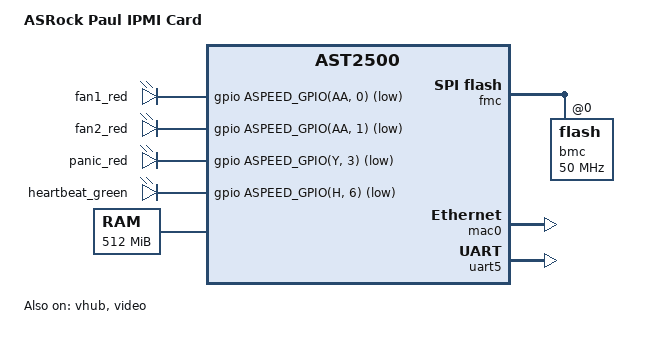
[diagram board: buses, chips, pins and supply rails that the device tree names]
// SPDX-License-Identifier: GPL-2.0-or-later
// Copyright 2025 Anirudh Srinivasan

/dts-v1/;

#include "aspeed-g5.dtsi"
#include <dt-bindings/gpio/aspeed-gpio.h>

/{
	model = "ASRock Paul IPMI Card";
	compatible = "asrock,ast2500-paul-ipmi-card", "aspeed,ast2500";

	aliases {
		serial4 = &uart5;
	};

	chosen {
		stdout-path = &uart5;
	};

	leds {
		compatible = "gpio-leds";

		led-fan-1 {
			gpios = <&gpio ASPEED_GPIO(AA, 0) GPIO_ACTIVE_LOW>;
			label = "fan1_red";
			default-state = "off";
		};

		led-fan-2 {
			gpios = <&gpio ASPEED_GPIO(AA, 1) GPIO_ACTIVE_LOW>;
			label = "fan2_red";
			default-state = "off";
		};

		led-fault {
			gpios = <&gpio ASPEED_GPIO(Y, 3) GPIO_ACTIVE_LOW>;
			label = "panic_red";
			panic-indicator;
			default-state = "off";
		};

		led-heartbeat {
			gpios = <&gpio ASPEED_GPIO(H, 6) GPIO_ACTIVE_LOW>;
			label = "heartbeat_green";
			linux,default-trigger = "timer";
		};
	};

	memory@80000000 {
		reg = <0x80000000 0x20000000>;
	};

	reserved-memory {
		#address-cells = <1>;
		#size-cells = <1>;
		ranges;

		video_engine_memory: video {
			size = <0x02000000>;
			alignment = <0x01000000>;
			compatible = "shared-dma-pool";
			reusable;
		};
	};
};

&fmc {
	status = "okay";
	flash@0 {
		status = "okay";
		m25p,fast-read;
		label = "bmc";
		spi-max-frequency = <50000000>; /* 50 MHz */
#include "openbmc-flash-layout.dtsi"
	};
};

&gpio {
	status = "okay";
	gpio-line-names =
		/*  A */ "", "", "", "", "", "", "", "",
		/*  B */ "", "", "", "", "", "", "", "",
		/*  C */ "", "", "", "", "", "", "", "",
		/*  D */ "", "BMC_PWRBTN", "", "BMC_RESETCON", "", "", "", "",
		/*  E */ "", "", "", "", "", "", "", "",
		/*  F */ "", "", "", "", "", "", "", "",
		/*  G */ "", "", "", "", "", "", "", "",
		/*  H */ "", "", "", "", "", "", "BMC_LED1", "",
		/*  I */ "", "", "", "", "", "", "", "",
		/*  J */ "", "", "", "", "", "", "", "",
		/*  K */ "", "", "", "", "", "", "", "",
		/*  L */ "", "", "", "", "", "", "", "",
		/*  M */ "", "", "", "", "", "", "", "",
		/*  N */ "", "", "", "", "", "", "", "",
		/*  O */ "", "", "", "", "", "", "", "",
		/*  P */ "", "", "", "", "", "", "", "",
		/*  Q */ "", "", "", "", "", "", "", "",
		/*  R */ "", "", "", "", "", "", "", "",
		/*  S */ "", "", "", "", "", "", "", "",
		/*  T */ "", "", "", "", "", "", "", "",
		/*  U */ "", "", "", "", "", "", "", "",
		/*  V */ "", "", "", "", "", "", "", "",
		/*  W */ "", "", "", "", "", "", "", "",
		/*  X */ "", "", "", "", "", "PCIE_STNDBY", "", "",
		/*  Y */ "", "", "", "SYSTEM_ERR_LED", "", "", "", "",
		/*  Z */ "", "", "", "", "", "", "", "",
		/* AA */ "FAN_1_LED", "FAN_2_LED", "", "", "", "", "", "",
		/* AB */ "", "", "", "", "", "", "", "",
		/* AC */ "", "", "", "", "", "", "", "";
};

&mac0 {
	status = "okay";

	pinctrl-names = "default";
	pinctrl-0 = <&pinctrl_rgmii1_default &pinctrl_mdio1_default>;
};

&uart5 {
	status = "okay";
};

&vhub {
	status = "okay";
};

&video {
	status = "okay";
	memory-region = <&video_engine_memory>;
};
